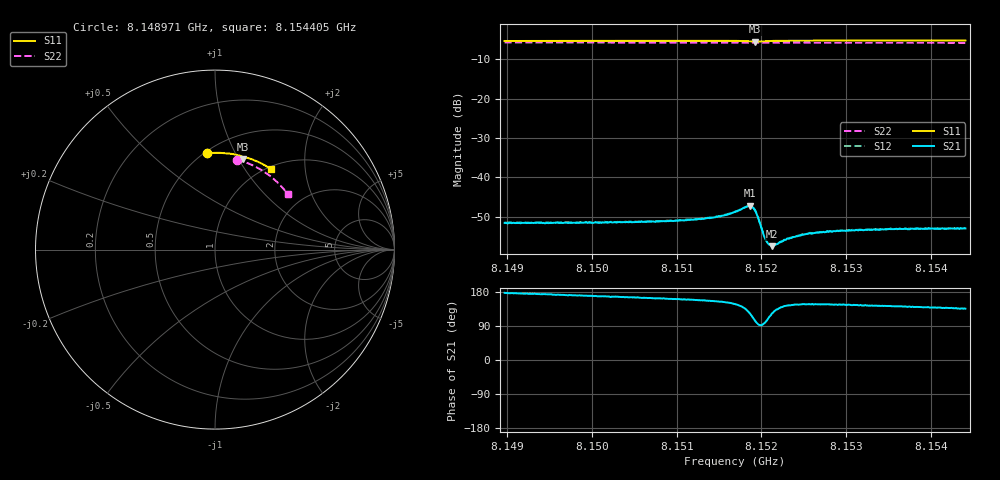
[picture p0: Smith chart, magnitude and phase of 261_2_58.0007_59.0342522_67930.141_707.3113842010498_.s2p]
#  HZ  S  RI  R  50.00
! Rohde & Schwarz Vector Network Analyzer
! Rohde-Schwarz,ZNB20-2Port,1311601062101988,3.16
! Created: UTC 3/21/2024, 1:01:58 AM
! freq[Hz]  re:S11  im:S11  re:S21  im:S21  re:S12  im:S12  re:S22  im:S22
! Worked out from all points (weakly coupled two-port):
!   401 points, 8.148971 GHz to 8.154405 GHz, reference 50 ohm
!   highest |S21| = -47.23 dB at 8.151865 GHz (marker M1); lowest = -57.5 dB at 8.152123 GHz (marker M2)
!   lowest |S11| = -5.5 dB at 8.151919 GHz (marker M3), VSWR 3.24, Z = 37.3 + j52.3 ohm
!   |S11| at or under -10 dB: nowhere
!   |S22| runs from -5.9 to -5.7 dB; largest |S21 - S12| = 0.00012
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8.1489714e9  -0.0421 0.5364  -0.00263 0.000125  -0.00268 0.000189  0.1213 0.5014
8.1498816e9  0.0213 0.5392  -0.00262 0.000453  -0.0026 0.000523  0.1776 0.4833
8.1507917e9  0.085 0.5343  -0.00262 0.00081  -0.00264 0.000905  0.2314 0.4589
8.1512129e9  0.1144 0.5292  -0.00271 0.00107  -0.00272 0.00114  0.255 0.4455
8.1514166e9  0.129 0.5261  -0.0028 0.00125  -0.00279 0.00133  0.2662 0.4386
8.1515796e9  0.1409 0.5224  -0.00293 0.00156  -0.00297 0.00159  0.275 0.4329
8.1516883e9  0.1492 0.5192  -0.00307 0.00194  -0.00306 0.00201  0.281 0.4291
8.1518242e9  0.1585 0.5112  -0.00284 0.00313  -0.00281 0.00319  0.2881 0.4237
8.1518649e9  0.1593 0.5077  -0.00235 0.00366  -0.00226 0.00372  0.2901 0.4223
8.1518921e9  0.1586 0.5056  -0.00172 0.00384  -0.0017 0.00387  0.2913 0.4212
8.1519192e9  0.1569 0.5049  -0.00103 0.00375  -0.000954 0.00378  0.2927 0.4202
8.15196e9  0.1553 0.5067  -0.000253 0.00308  -0.000203 0.00311  0.2945 0.4188
8.1520279e9  0.1583 0.5111  -0.000176 0.00182  -0.000162 0.00185  0.2981 0.4164
8.1520551e9  0.1605 0.5121  -0.000333 0.00154  -0.000318 0.00154  0.2994 0.4155
8.1520958e9  0.1642 0.513  -0.00058 0.00126  -0.000531 0.0013  0.3017 0.414
8.152123e9  0.1666 0.5132  -0.000719 0.00113  -0.000719 0.00119  0.3031 0.413
8.1521773e9  0.1712 0.5129  -0.000968 0.00104  -0.000981 0.00107  0.3059 0.4107
8.1523268e9  0.183 0.5105  -0.00135 0.000973  -0.00135 0.001  0.3134 0.4049
8.1525985e9  0.2022 0.5044  -0.00164 0.00102  -0.00161 0.00106  0.3268 0.3938
8.1529517e9  0.2254 0.4953  -0.00174 0.00117  -0.00175 0.0012  0.3436 0.3787
8.1535086e9  0.2606 0.4787  -0.00175 0.00135  -0.00173 0.00137  0.3685 0.3534
8.1544052e9  0.3141 0.4471  -0.0016 0.00157  -0.0016 0.00162  0.4046 0.3094
